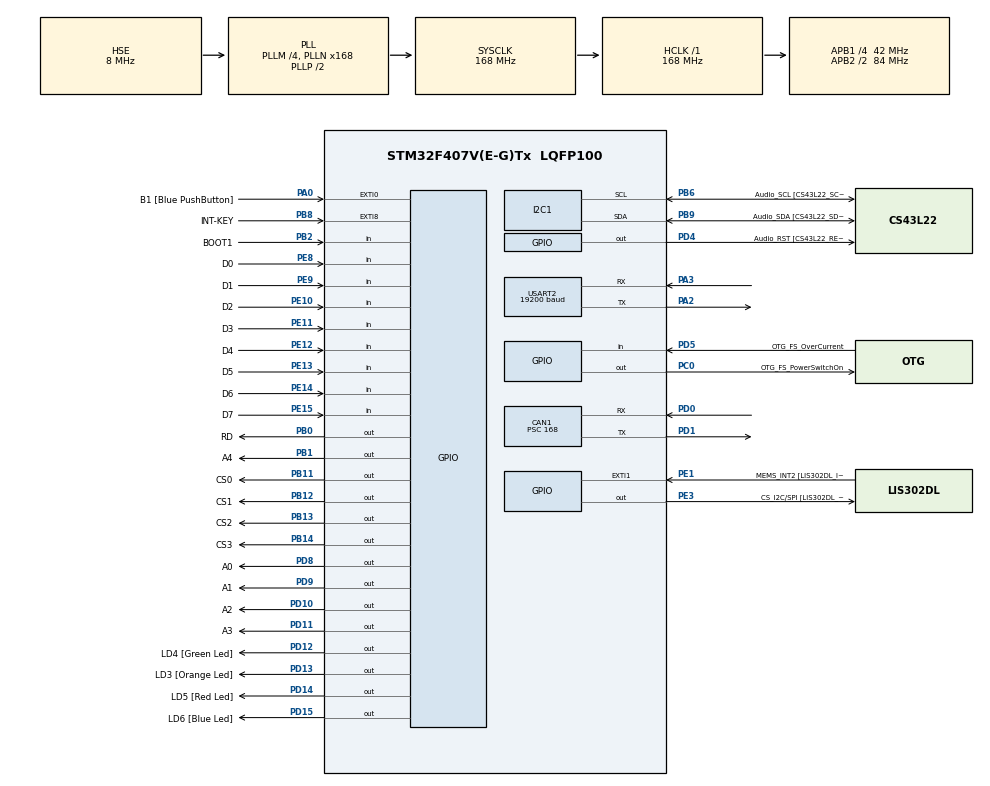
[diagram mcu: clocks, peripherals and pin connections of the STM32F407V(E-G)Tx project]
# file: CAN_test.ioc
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CAN1.BS1=CAN_BS1_3TQ
CAN1.CalculateTimeQuantum=4000.0
CAN1.Mode=CAN_MODE_LOOPBACK
CAN1.Prescaler=168
Mcu.Family=STM32F4
Mcu.Name=STM32F407V(E-G)Tx
Mcu.Package=LQFP100
NVIC.EXTI9_5_IRQn=true\:0\:0\:false\:false\:true\:true\:true
NVIC.PriorityGroup=NVIC_PRIORITYGROUP_0
NVIC.TIM6_DAC_IRQn=true\:0\:0\:false\:false\:true\:true\:true
PA0-WKUP.GPIO_Label=B1 [Blue PushButton]
PA0-WKUP.Signal=GPXTI0
PA10.GPIO_Label=OTG_FS_ID
PA10.GPIO_Mode=GPIO_MODE_AF_PP
PA10.GPIO_PuPd=GPIO_NOPULL
PA10.GPIO_Speed=GPIO_SPEED_FREQ_LOW
PA10.Signal=USB_OTG_FS_ID
PA11.GPIO_Label=OTG_FS_DM
PA11.GPIO_Mode=GPIO_MODE_AF_PP
PA11.GPIO_PuPd=GPIO_NOPULL
PA11.GPIO_Speed=GPIO_SPEED_FREQ_LOW
PA11.Signal=USB_OTG_FS_DM
PA12.GPIO_Label=OTG_FS_DP
PA12.GPIO_Mode=GPIO_MODE_AF_PP
PA12.GPIO_PuPd=GPIO_NOPULL
PA12.GPIO_Speed=GPIO_SPEED_FREQ_LOW
PA12.Signal=USB_OTG_FS_DP
PA13.GPIO_Label=SWDIO
PA13.Signal=SYS_JTMS-SWDIO
PA14.GPIO_Label=SWCLK
PA14.Signal=SYS_JTCK-SWCLK
PA2.Mode=Asynchronous
PA2.Signal=USART2_TX
PA3.Mode=Asynchronous
PA3.Signal=USART2_RX
PA4.GPIO_Label=I2S3_WS [CS43L22_LRCK]
PA4.GPIO_Mode=GPIO_MODE_AF_PP
PA4.GPIO_PuPd=GPIO_NOPULL
PA4.GPIO_Speed=GPIO_SPEED_FREQ_LOW
PA4.Signal=I2S3_WS
PA5.GPIO_Label=SPI1_SCK [LIS302DL_SCL/SPC]
PA5.GPIO_Mode=GPIO_MODE_AF_PP
PA5.GPIO_PuPd=GPIO_NOPULL
PA5.GPIO_Speed=GPIO_SPEED_FREQ_LOW
PA5.Signal=SPI1_SCK
PA6.GPIO_Label=SPI1_MISO [LIS302DL_SDO]
PA6.GPIO_Mode=GPIO_MODE_AF_PP
PA6.GPIO_PuPd=GPIO_NOPULL
PA6.GPIO_Speed=GPIO_SPEED_FREQ_LOW
PA6.Signal=SPI1_MISO
PA7.GPIO_Label=SPI1_MOSI [LIS302DL_SDA/SDI/SDO]
PA7.GPIO_Mode=GPIO_MODE_AF_PP
PA7.GPIO_PuPd=GPIO_NOPULL
PA7.GPIO_Speed=GPIO_SPEED_FREQ_LOW
PA7.Signal=SPI1_MOSI
PA9.GPIO_Label=VBUS_FS
PA9.GPIO_Mode=GPIO_MODE_INPUT
PA9.GPIO_PuPd=GPIO_NOPULL
PA9.Signal=USB_OTG_FS_VBUS
PB0.GPIO_Label=RD
PB0.Signal=GPIO_Output
PB1.GPIO_Label=A4
PB1.Signal=GPIO_Output
PB10.GPIO_Label=CLK_IN [MP45DT02_CLK]
PB10.GPIO_Mode=GPIO_MODE_AF_PP
PB10.GPIO_PuPd=GPIO_NOPULL
PB10.GPIO_Speed=GPIO_SPEED_FREQ_LOW
PB10.Signal=I2S2_CK
PB11.GPIO_Label=CS0
PB11.Signal=GPIO_Output
PB12.GPIO_Label=CS1
PB12.Signal=GPIO_Output
PB13.GPIO_Label=CS2
PB13.Signal=GPIO_Output
PB14.GPIO_Label=CS3
PB14.Signal=GPIO_Output
PB2.GPIO_Label=BOOT1
PB2.GPIO_Mode=GPIO_MODE_INPUT
PB2.GPIO_PuPd=GPIO_NOPULL
PB2.Signal=GPIO_Input
PB3.GPIO_Label=SWO
PB3.Signal=SYS_JTDO-SWO
PB6.GPIO_Label=Audio_SCL [CS43L22_SCL]
PB6.GPIO_Mode=GPIO_MODE_AF_OD
PB6.GPIO_PuPd=GPIO_NOPULL
PB6.GPIO_Speed=GPIO_SPEED_FREQ_LOW
PB6.Mode=I2C
PB6.Signal=I2C1_SCL
PB8.GPIO_Label=INT-KEY
PB8.GPIO_ModeDefaultEXTI=GPIO_MODE_IT_FALLING
PB8.Signal=GPXTI8
PB9.GPIO_Label=Audio_SDA [CS43L22_SDA]
PB9.GPIO_Mode=GPIO_MODE_AF_OD
PB9.GPIO_PuPd=GPIO_NOPULL
PB9.GPIO_Speed=GPIO_SPEED_FREQ_LOW
PB9.Mode=I2C
PB9.Signal=I2C1_SDA
PC0.GPIO_Label=OTG_FS_PowerSwitchOn
PC0.GPIO_PuPd=GPIO_NOPULL
PC0.GPIO_Speed=GPIO_SPEED_FREQ_LOW
PC0.PinState=GPIO_PIN_SET
PC0.Signal=GPIO_Output
PC10.GPIO_Label=I2S3_SCK [CS43L22_SCLK]
PC10.GPIO_Mode=GPIO_MODE_AF_PP
PC10.GPIO_PuPd=GPIO_NOPULL
PC10.GPIO_Speed=GPIO_SPEED_FREQ_LOW
PC10.Signal=I2S3_CK
PC12.GPIO_Label=I2S3_SD [CS43L22_SDIN]
PC12.GPIO_Mode=GPIO_MODE_AF_PP
PC12.GPIO_PuPd=GPIO_NOPULL
PC12.GPIO_Speed=GPIO_SPEED_FREQ_LOW
PC12.Signal=I2S3_SD
PC14-OSC32_IN.GPIO_Label=PC14-OSC32_IN
PC14-OSC32_IN.Signal=RCC_OSC32_IN
PC15-OSC32_OUT.GPIO_Label=PC15-OSC32_OUT
PC15-OSC32_OUT.Signal=RCC_OSC32_OUT
PC3.GPIO_Label=PDM_OUT [MP45DT02_DOUT]
PC3.GPIO_Mode=GPIO_MODE_AF_PP
PC3.GPIO_PuPd=GPIO_NOPULL
PC3.GPIO_Speed=GPIO_SPEED_FREQ_LOW
PC3.Signal=I2S2_SD
PC7.GPIO_Label=I2S3_MCK [CS43L22_MCLK]
PC7.GPIO_Mode=GPIO_MODE_AF_PP
PC7.GPIO_PuPd=GPIO_NOPULL
PC7.GPIO_Speed=GPIO_SPEED_FREQ_LOW
PC7.Signal=I2S3_MCK
PD0.Mode=Master
PD0.Signal=CAN1_RX
PD1.Mode=Master
PD1.Signal=CAN1_TX
PD10.GPIO_Label=A2
PD10.Signal=GPIO_Output
PD11.GPIO_Label=A3
PD11.Signal=GPIO_Output
PD12.GPIO_Label=LD4 [Green Led]
PD12.GPIO_PuPd=GPIO_NOPULL
PD12.GPIO_Speed=GPIO_SPEED_FREQ_LOW
PD12.Signal=GPIO_Output
PD13.GPIO_Label=LD3 [Orange Led]
PD13.GPIO_PuPd=GPIO_NOPULL
PD13.GPIO_Speed=GPIO_SPEED_FREQ_LOW
PD13.Signal=GPIO_Output
PD14.GPIO_Label=LD5 [Red Led]
PD14.GPIO_PuPd=GPIO_NOPULL
PD14.GPIO_Speed=GPIO_SPEED_FREQ_LOW
PD14.Signal=GPIO_Output
PD15.GPIO_Label=LD6 [Blue Led]
PD15.GPIO_PuPd=GPIO_NOPULL
PD15.GPIO_Speed=GPIO_SPEED_FREQ_LOW
PD15.Signal=GPIO_Output
PD4.GPIO_Label=Audio_RST [CS43L22_RESET]
PD4.GPIO_PuPd=GPIO_NOPULL
PD4.GPIO_Speed=GPIO_SPEED_FREQ_LOW
PD4.Signal=GPIO_Output
PD5.GPIO_Label=OTG_FS_OverCurrent
PD5.GPIO_Mode=GPIO_MODE_INPUT
PD5.GPIO_PuPd=GPIO_NOPULL
PD5.Signal=GPIO_Input
PD8.GPIO_Label=A0
PD8.Signal=GPIO_Output
PD9.GPIO_Label=A1
PD9.Signal=GPIO_Output
PE1.GPIO_Label=MEMS_INT2 [LIS302DL_INT2]
PE1.GPIO_ModeDefaultEXTI=GPIO_MODE_EVT_RISING
PE1.GPIO_PuPd=GPIO_NOPULL
PE1.Signal=GPXTI1
PE10.GPIO_Label=D2
PE10.Signal=GPIO_Input
PE11.GPIO_Label=D3
PE11.Signal=GPIO_Input
PE12.GPIO_Label=D4
PE12.Signal=GPIO_Input
PE13.GPIO_Label=D5
PE13.Signal=GPIO_Input
PE14.GPIO_Label=D6
PE14.Signal=GPIO_Input
PE15.GPIO_Label=D7
PE15.Signal=GPIO_Input
PE3.GPIO_Label=CS_I2C/SPI [LIS302DL_CS_I2C/SPI]
PE3.GPIO_PuPd=GPIO_NOPULL
PE3.GPIO_Speed=GPIO_SPEED_FREQ_LOW
PE3.Signal=GPIO_Output
PE8.GPIO_Label=D0
PE8.Signal=GPIO_Input
PE9.GPIO_Label=D1
PE9.Signal=GPIO_Input
PH0-OSC_IN.GPIO_Label=PH0-OSC_IN
PH0-OSC_IN.Mode=HSE-External-Oscillator
PH0-OSC_IN.Signal=RCC_OSC_IN
PH1-OSC_OUT.GPIO_Label=PH1-OSC_OUT
PH1-OSC_OUT.Mode=HSE-External-Oscillator
PH1-OSC_OUT.Signal=RCC_OSC_OUT
ProjectManager.HeapSize=0x200
ProjectManager.StackSize=0x400
ProjectManager.TargetToolchain=EWARM V7
RCC.48MHZClocksFreq_Value=48000000
RCC.AHBFreq_Value=168000000
RCC.APB1CLKDivider=RCC_HCLK_DIV4
RCC.APB1Freq_Value=42000000
RCC.APB1TimFreq_Value=84000000
RCC.APB2CLKDivider=RCC_HCLK_DIV2
RCC.APB2Freq_Value=84000000
RCC.APB2TimFreq_Value=168000000
RCC.CortexFreq_Value=168000000
RCC.HCLKFreq_Value=168000000
RCC.HSE_VALUE=8000000
RCC.HSI_VALUE=16000000
RCC.LSE_VALUE=32768
RCC.PLLM=4
RCC.PLLN=168
RCC.PLLQ=7
RCC.PLLSourceVirtual=RCC_PLLSOURCE_HSE
RCC.SYSCLKFreq_VALUE=168000000
RCC.SYSCLKSource=RCC_SYSCLKSOURCE_PLLCLK
RCC.VCOOutputFreq_Value=336000000
TIM6.Period=PILOTETIMER6UP_COMPTE_MAXIMAL
TIM6.TIM_MasterOutputTrigger=TIM_TRGO_ENABLE
USART2.BaudRate=19200
USART2.VirtualMode=VM_ASYNC
VP_TIM6_VS_ClockSourceINT.Mode=Enable_Timer
board=STM32F407G-DISC1

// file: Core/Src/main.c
/* USER CODE BEGIN Header */
/**
  ******************************************************************************
  * @file           : main.c
  * @brief          : Main program body
  ******************************************************************************
  * @attention
  *
  * <h2><center>&copy; Copyright (c) 2020 STMicroelectronics.
  * All rights reserved.</center></h2>
  *
  * This software component is licensed by ST under BSD 3-Clause license,
  * the "License"; You may not use this file except in compliance with the
  * License. You may obtain a copy of the License at:
  *                        opensource.org/licenses/BSD-3-Clause
  *
  ******************************************************************************
  */
/* USER CODE END Header */

#include "main.h"
#include "can.h"
#include "i2c.h"
#include "tim.h"
#include "usart.h"
#include "gpio.h"

/* USER CODE BEGIN Includes */
#include "../Inc/serviceCAN.h"
#include "../Inc/piloteIOT1.h"
#include "../Inc/piloteIOT2.h"
#include "../Inc/piloteIOT3.h"
#include "../Inc/piloteIOT4.h"
#include "../Inc/interfaceT1.h"
#include "../Inc/interfaceT2.h"
#include "../Inc/interfaceT3.h"
#include "../Inc/interfaceT4.h"
#include "../Inc/interfaceCAN.h"
/* USER CODE END Includes */

/* USER CODE BEGIN PV */
unsigned char dataIN[16] = {'\0', '\0', '\0', '\0', '\0', '\0', '\0', '\0',
                            '\0', '\0', '\0', '\0', '\0', '\0', '\0', '\0'};
unsigned char TabOutput[16] = {'\0', '\0', '\0', '\0', '\0', '\0', '\0', '\0',
                               '\0', '\0', '\0', '\0', '\0', '\0', '\0', '\0'};
unsigned char dataOUT[16] = {'\0', '\0', '\0', '\0', '\0', '\0', '\0', '\0',
                             '\0', '\0', '\0', '\0', '\0', '\0', '\0', '\0'};
unsigned int CallerID, CallerIDOut, Temp;
/* USER CODE END PV */

void SystemClock_Config(void);
/* USER CODE BEGIN PFP */
void main_initialiseAvantLeHAL(void);
void main_initialiseApresLeHAL(void);
unsigned char hex2ascii(unsigned char hex);
unsigned char *buffer_hex2ascii(unsigned char *buffer, unsigned char buffer_size);
/* USER CODE END PFP */

/* USER CODE BEGIN 0 */
struct service_CAN_buffer CAN_buffer;
void main_initialiseAvantLeHAL(void) {
  piloteIOT1_initialise();
  piloteIOT2_initialise();
  piloteIOT3_initialise();
  piloteIOT4_initialise();
  interfaceT1_initialise();
  interfaceT2_initialise();
  interfaceT3_initialise();
  interfaceT4_initialise();
}

void main_initialiseApresLeHAL(void) {
  Init_interfaceCAN();
}

void neFaitRien(void) {}
/* USER CODE END 0 */

int main(void)
{
  /* USER CODE BEGIN 1 */
	unsigned char message[MESSAGE_SIZE] = {'A', 'l', 'l', 'o', '\0'};
  /* USER CODE END 1 */

  /* MCU Configuration--------------------------------------------------------*/

  /* Reset of all peripherals, Initializes the Flash interface and the Systick. */
  HAL_Init();

  /* Configure the system clock */
  SystemClock_Config();

  /* Initialize all configured peripherals */
  MX_GPIO_Init();
  MX_USART2_UART_Init();
  MX_TIM6_Init();
  MX_CAN1_Init();
  MX_I2C1_Init();
  /* USER CODE BEGIN 2 */
  main_initialiseAvantLeHAL();
  //HAL_GPIO_WritePin(GPIOB, CS0_Pin, GPIO_PIN_RESET); // Verify Cube for reason.
  main_initialiseApresLeHAL();
  /* USER CODE END 2 */

  /* Infinite loop */
  while (1) {

  }
}

void SystemClock_Config(void)
{
  RCC_OscInitTypeDef RCC_OscInitStruct = {0};
  RCC_ClkInitTypeDef RCC_ClkInitStruct = {0};

  /** Configure the main internal regulator output voltage
  */
  __HAL_RCC_PWR_CLK_ENABLE();
  __HAL_PWR_VOLTAGESCALING_CONFIG(PWR_REGULATOR_VOLTAGE_SCALE1);
  /** Initializes the CPU, AHB and APB busses clocks
  */
  RCC_OscInitStruct.OscillatorType = RCC_OSCILLATORTYPE_HSE;
  RCC_OscInitStruct.HSEState = RCC_HSE_ON;
  RCC_OscInitStruct.PLL.PLLState = RCC_PLL_ON;
  RCC_OscInitStruct.PLL.PLLSource = RCC_PLLSOURCE_HSE;
  RCC_OscInitStruct.PLL.PLLM = 4;
  RCC_OscInitStruct.PLL.PLLN = 168;
  RCC_OscInitStruct.PLL.PLLP = RCC_PLLP_DIV2;
  RCC_OscInitStruct.PLL.PLLQ = 7;
  if (HAL_RCC_OscConfig(&RCC_OscInitStruct) != HAL_OK)
  {
    Error_Handler();
  }
  /** Initializes the CPU, AHB and APB busses clocks
  */
  RCC_ClkInitStruct.ClockType = RCC_CLOCKTYPE_HCLK|RCC_CLOCKTYPE_SYSCLK
                              |RCC_CLOCKTYPE_PCLK1|RCC_CLOCKTYPE_PCLK2;
  RCC_ClkInitStruct.SYSCLKSource = RCC_SYSCLKSOURCE_PLLCLK;
  RCC_ClkInitStruct.AHBCLKDivider = RCC_SYSCLK_DIV1;
  RCC_ClkInitStruct.APB1CLKDivider = RCC_HCLK_DIV4;
  RCC_ClkInitStruct.APB2CLKDivider = RCC_HCLK_DIV2;

  if (HAL_RCC_ClockConfig(&RCC_ClkInitStruct, FLASH_LATENCY_5) != HAL_OK)
  {
    Error_Handler();
  }
}

/* USER CODE BEGIN 4 */
unsigned char hex2ascii(unsigned char hex) {
    return hex + (hex > 9 ? 0x37 : 0x30);
}

unsigned char *buffer_hex2ascii(unsigned char *buffer, unsigned char buffer_size) {
    for (unsigned char i = 0; i < buffer_size; i++)
        buffer[i] = hex2ascii(buffer[i]);
    return buffer;
}
/* USER CODE END 4 */

void Error_Handler(void)
{
}

/************************ (C) COPYRIGHT STMicroelectronics *****END OF FILE****/
